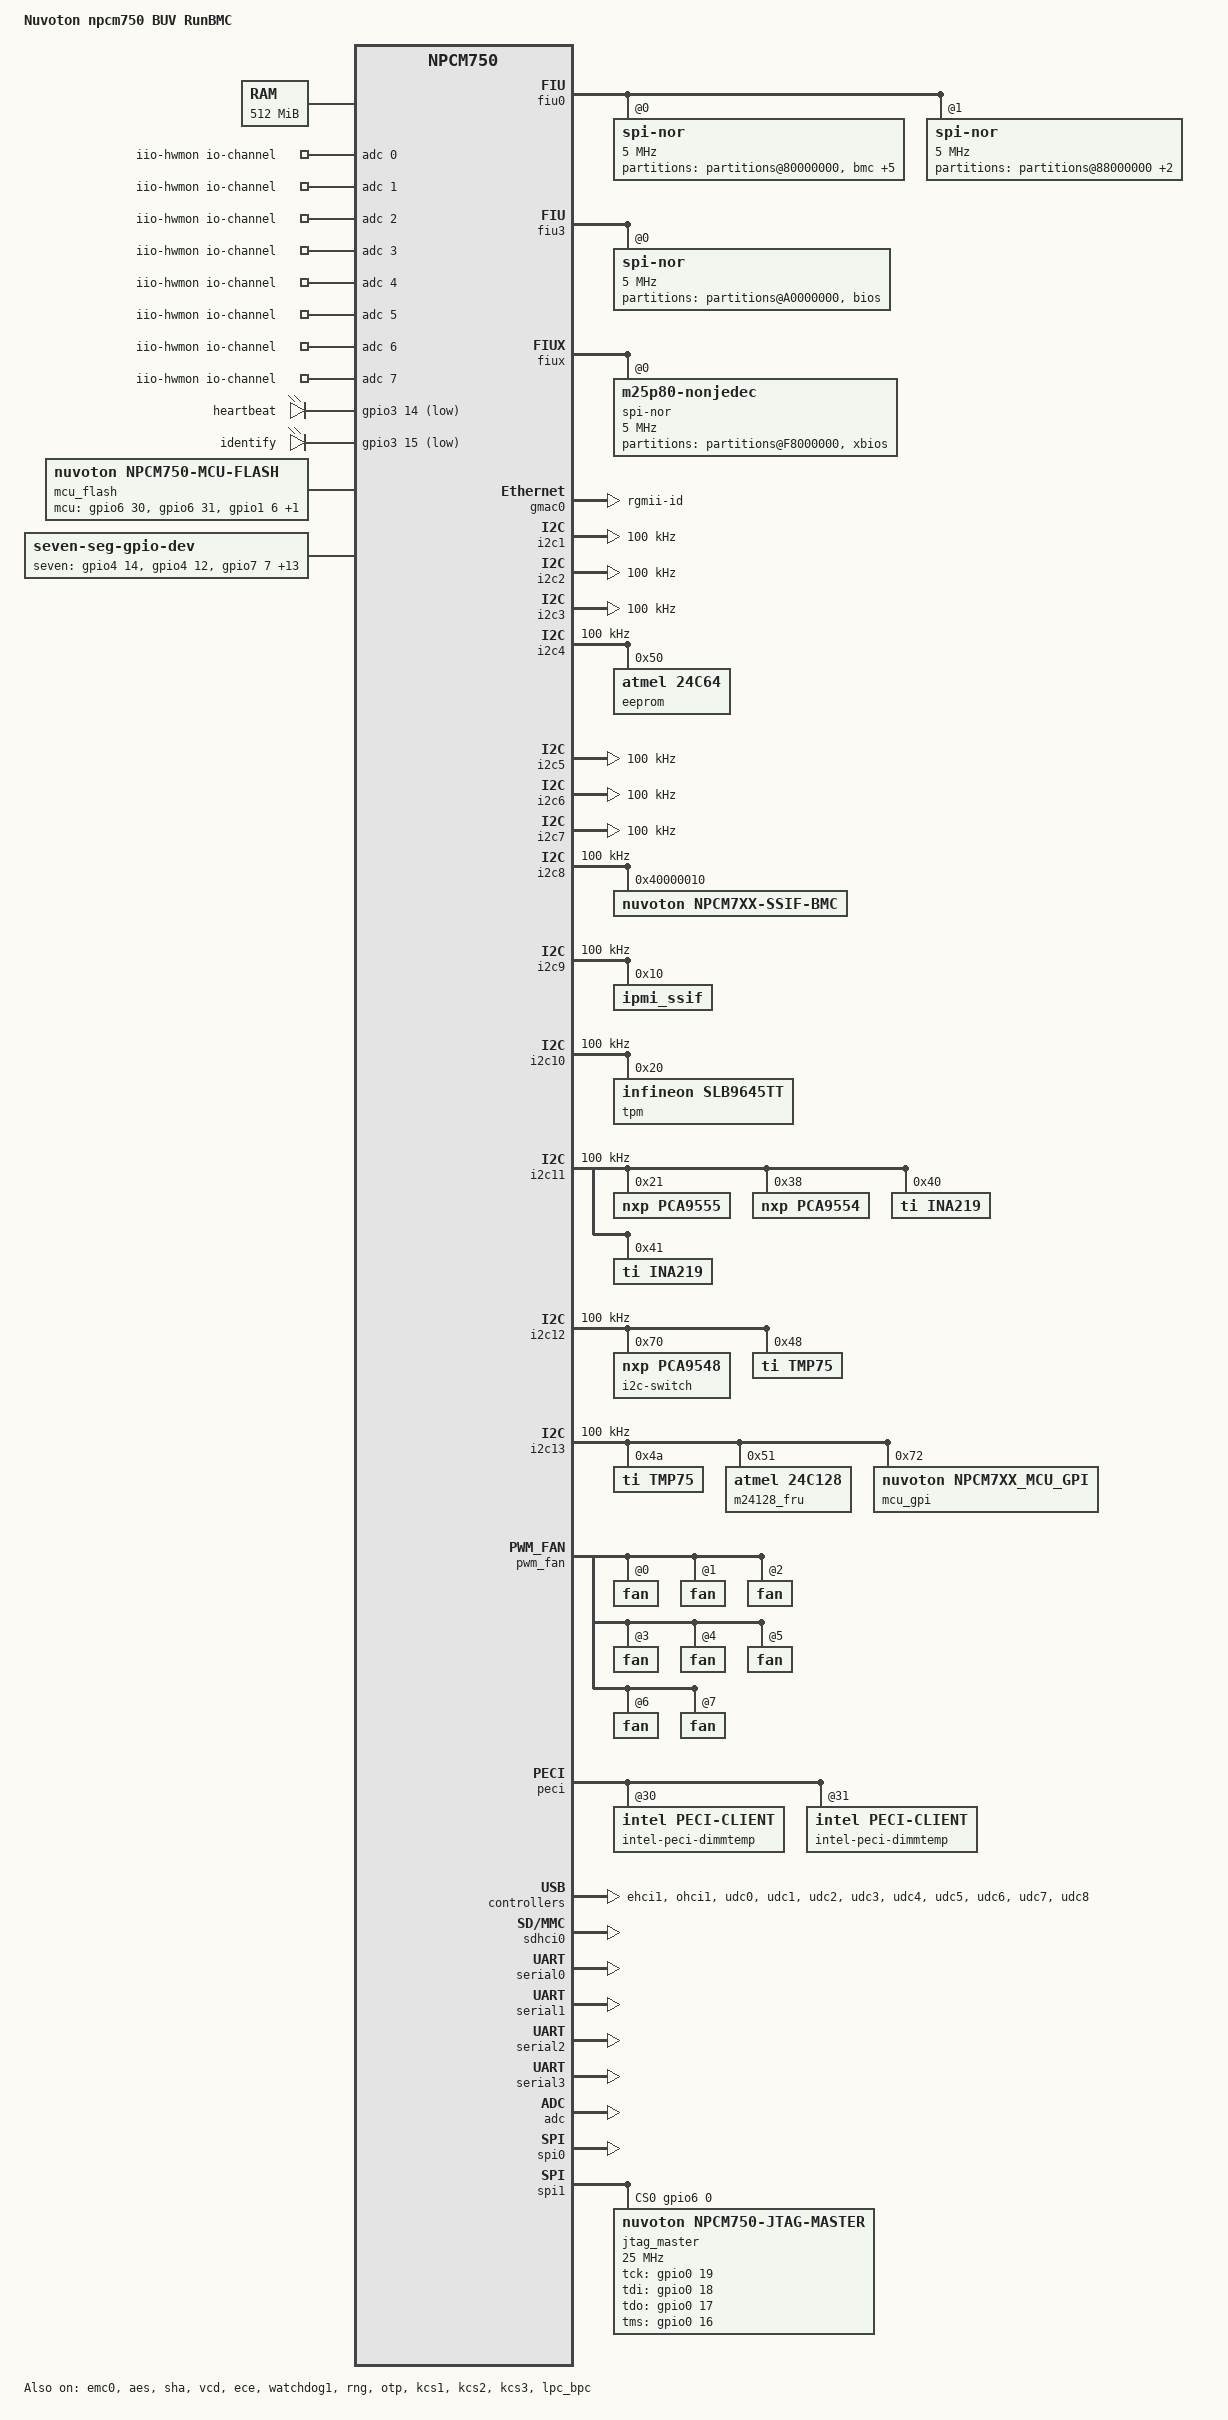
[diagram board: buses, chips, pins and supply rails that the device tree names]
// SPDX-License-Identifier: GPL-2.0
// Copyright (c) 2019 Nuvoton Technology kwliu@nuvoton.com

/dts-v1/;
#include "nuvoton-npcm750.dtsi"
// #include "nuvoton-npcm750-buv-runbmc-pincfg.dtsi"

#include <dt-bindings/i2c/i2c.h>
#include <dt-bindings/gpio/gpio.h>

/ {
	model = "Nuvoton npcm750 BUV RunBMC";
	compatible = "nuvoton,npcm750";

	aliases {
		ethernet0 = &emc0;
		ethernet1 = &gmac0;
		serial0 = &serial0;
		serial1 = &serial1;
		serial2 = &serial2;
		serial3 = &serial3;
		udc0 = &udc0;
		udc1 = &udc1;
		udc2 = &udc2;
		udc3 = &udc3;
		udc4 = &udc4;
		udc5 = &udc5;
		udc6 = &udc6;
		udc7 = &udc7;
		udc8 = &udc8;
		udc9 = &udc9;
		emmc0 = &sdhci0;
		i2c0 = &i2c0;
		i2c1 = &i2c1;
		i2c2 = &i2c2;
		i2c3 = &i2c3;
		i2c4 = &i2c4;
		i2c5 = &i2c5;
		i2c6 = &i2c6;
		i2c7 = &i2c7;
		i2c8 = &i2c8;
		i2c9 = &i2c9;
		i2c10 = &i2c10;
		i2c11 = &i2c11;
		i2c12 = &i2c12;
		i2c13 = &i2c13;
		spi0 = &spi0;
		spi1 = &spi1;
		fiu0 = &fiu0;
		fiu1 = &fiu3;
		fiu2 = &fiux;
	};

	chosen {
		stdout-path = &serial3;
	};

	memory {
		reg = <0 0x20000000>;
	};

	iio-hwmon {
		compatible = "iio-hwmon";
		io-channels = <&adc 0>, <&adc 1>, <&adc 2>, <&adc 3>,
			<&adc 4>, <&adc 5>, <&adc 6>, <&adc 7>;
	};

	leds {
		compatible = "gpio-leds";
		heartbeat {
		label = "heartbeat";
			gpios = <&gpio3 14 1>;
		};

		identify {
			label = "identify";
			gpios = <&gpio3 15 1>;
		};
	};

	mcu_flash {
		compatible = "nuvoton,npcm750-mcu-flash";
		status = "okay";
		#address-cells = <1>;
		#size-cells = <1>;
		dev-num = <0>;    /* /dev/mcu0 */
		smb-offset = <6>; /* SMBSEL offset of MFSEL3 */
		mcu-gpios = <&gpio6 30 GPIO_ACTIVE_HIGH>,     /* GPIO222/PROG_CLK, Output */
			<&gpio6 31 GPIO_ACTIVE_HIGH>,     /* GPIO223/PROG_MOSI Output */
			<&gpio1 6 GPIO_ACTIVE_HIGH>,      /* GPIO38/PROG_MISO, Input  */
			<&gpio1 5 GPIO_ACTIVE_HIGH>;       /* GPIO37/RESET#, Output    */
    };

	seven-seg-gpio {
		compatible = "seven-seg-gpio-dev";
		refresh-interval-ms = <500>;
		seven-gpios = <&gpio4 14 0>,
			<&gpio4 12 0>,
			<&gpio7 7 0>,
			<&gpio0 9 0>,
			<&gpio4 15 0>,
			<&gpio2 25 0>,
			<&gpio4 11 0>,
			<&gpio4 10 0>,
			<&gpio0 25 0>,
			<&gpio4 9 0>,
			<&gpio0 24 0>,
			<&gpio0 11 0>,
			<&gpio2 23 0>,
			<&gpio4 13 0>,
			<&gpio2 24 0>,
			<&gpio2 26 0>;
		status = "okay";
    };
};

&fiu0 {
	pinctrl-names = "default";
	pinctrl-0 = <&spi0cs1_pins>;
	status = "okay";

	spi-nor@0 {
		compatible = "jedec,spi-nor";
		#address-cells = <1>;
		#size-cells = <1>;
		reg = <0>;
		spi-rx-bus-width = <2>;
		spi-tx-bus-width = <2>;
		spi-max-frequency = <5000000>;
		partitions@80000000 {
			compatible = "fixed-partitions";
			#address-cells = <1>;
			#size-cells = <1>;
			bmc@0{
				label = "bmc";
				reg = <0x000000 0x4000000>;
			};
			u-boot@0 {
				label = "u-boot";
				reg = <0x0000000 0xC0000>;
			};
			u-boot-env@100000{
				label = "u-boot-env";
				reg = <0x00100000 0x40000>;
			};
			kernel@200000 {
				label = "kernel";
				reg = <0x0200000 0x600000>;
			};
			rofs@800000 {
				label = "rofs";
				reg = <0x800000 0x3500000>;
			};
			rwfs@1d00000 {
				label = "rwfs";
				reg = <0x3d00000 0x300000>;
			};
		};
	};

	spi-nor@1 {
		compatible = "jedec,spi-nor";
		#address-cells = <1>;
		#size-cells = <1>;
		reg = <1>;
		spi-rx-bus-width = <2>;
		spi-tx-bus-width = <2>;
		spi-max-frequency = <5000000>;
		partitions@88000000 {
			compatible = "fixed-partitions";
			#address-cells = <1>;
			#size-cells = <1>;
			spare1@0 {
				label = "spi0-cs1-spare1";
				reg = <0x0 0x800000>;
			};
			spare2@800000 {
				label = "spi0-cs1-spare2";
				reg = <0x800000 0x0>;
			};
		};
	};
};

&fiu3 {
	pinctrl-0 = <&spi3_pins>;
	status = "okay";

	spi-nor@0 {
		compatible = "jedec,spi-nor";
		#address-cells = <1>;
		#size-cells = <1>;
		reg = <0>;
		spi-rx-bus-width = <2>;
		spi-tx-bus-width = <2>;
		spi-max-frequency = <5000000>;
		partitions@A0000000 {
			compatible = "fixed-partitions";
			#address-cells = <1>;
			#size-cells = <1>;
			bios@0 {
				label = "bios";
				reg = <0x0 0x2000000>;
			};
		};
	};
};

&fiux {
	pinctrl-0 = <&spix_pins>;
	pinctrl-names = "default";
	status = "okay";
	reg = <0xfb001000 0x1000>, <0xf8000000 0x2000000>;
	reg-names = "control", "memory";
	spi-nor@0 {
		compatible = "m25p80-nonjedec";
		spi-max-frequency = <5000000>;
		#address-cells = <1>;
		#size-cells = <1>;
		reg = <0>;
		spi-rx-bus-width = <2>;
		spi-tx-bus-width = <2>;

		partitions@F8000000 {
			compatible = "fixed-partitions";
			#address-cells = <1>;
			#size-cells = <1>;
			xbios@0 {
				label = "xbios";
				reg = <0x0 0x2000000>;
			};
		};
	};
};

&gcr {
	mux-controller {
		compatible = "mmio-mux";
		#mux-control-cells = <1>;

		mux-reg-masks = <0x38 0x07>;
		idle-states = <6>;
	};
};

&gmac0 {
	phy-mode = "rgmii-id";
	snps,eee-force-disable;
	status = "okay";
};

&emc0 {
	status = "okay";
};

&i2c1 {
	#address-cells = <1>;
	#size-cells = <0>;
	clock-frequency = <100000>;
	status = "okay";
};

&i2c2 {
	#address-cells = <1>;
	#size-cells = <0>;
	clock-frequency= <100000>;
	status = "okay";
};

&i2c3 {
	#address-cells = <1>;
	#size-cells = <0>;
	clock-frequency = <100000>;
	status = "okay";
};

&i2c4 {
	#address-cells = <1>;
	#size-cells = <0>;
	clock-frequency = <100000>;
	status = "okay";
	eeprom@50 {
		compatible = "atmel,24c64";
		reg = <0x50>;
	};
};

&i2c5 {
	#address-cells = <1>;
	#size-cells = <0>;
	clock-frequency = <100000>;
	status = "okay";
};

&i2c6 {
	#address-cells = <1>;
	#size-cells = <0>;
	clock-frequency = <100000>;
	status = "okay";
};

&i2c7 {
	#address-cells = <1>;
	#size-cells = <0>;
	clock-frequency = <100000>;
	status = "okay";
};

&i2c8 {
	#address-cells = <1>;
	#size-cells = <0>;
	clock-frequency = <100000>;
	status = "okay";
	npcm7xx-ssif-bmc@40000010 {
		compatible = "nuvoton,npcm7xx-ssif-bmc";
		reg = <0x40000010>;
	};
};

&i2c9 {
	#address-cells = <1>;
	#size-cells = <0>;
	clock-frequency = <100000>;
	status = "okay";
	ipmi_ssif@10 {
		compatible = "ipmi_ssif";
		reg = <0x10>;
	};
};

&i2c10 {
	#address-cells = <1>;
	#size-cells = <0>;
	clock-frequency = <100000>;
	status = "okay";
	tpm@20 {
		compatible = "infineon,slb9645tt";
		reg = <0x20>;
	};
};

&i2c11 {
	#address-cells = <1>;
	#size-cells = <0>;
	clock-frequency = <100000>;
	status = "okay";
	pca9555@21 {
		compatible = "nxp,pca9555";
		reg = <0x21>;
		gpio-controller;
		#gpio-cells = <2>;
	};
	pca9554@38 {
		compatible = "nxp,pca9554";
		reg = <0x38>;
		gpio-controller;
		#gpio-cells = <2>;
	};
	ina219@40 {
		compatible = "ti,ina219";
		reg = <0x40>;
	};
	ina219@41 {
		compatible = "ti,ina219";
		reg = <0x41>;
	};
};

&i2c12 {
	#address-cells = <1>;
	#size-cells = <0>;
	clock-frequency = <100000>;
	status = "okay";
	i2c-switch@70 {
		compatible = "nxp,pca9548";
		#address-cells = <1>;
		#size-cells = <0>;
		reg = <0x70>;
		i2c-mux-idle-disconnect;
		i2c-bus@0 {
			#address-cells = <1>;
			#size-cells = <0>;
			reg = <0>;
		};

		i2c-bus@1 {
			#address-cells = <1>;
			#size-cells = <0>;
			reg = <1>;
		};
	};
	tmp75@48 {
		compatible = "ti,tmp75";
		reg = <0x48>;
		status = "okay";
	};
};

&i2c13 {
	#address-cells = <1>;
	#size-cells = <0>;
	clock-frequency = <100000>;
	status = "okay";
	tmp75@4a {
		compatible = "ti,tmp75";
		reg = <0x4a>;
		status = "okay";
	};
	m24128_fru@51 {
		compatible = "atmel,24c128";
		reg = <0x51>;
		pagesize = <64>;
		status = "okay";
	};
	mcu_gpi@72 {
                compatible = "nuvoton,npcm7xx_mcu_gpi";
                reg = <0x72>;
                status = "okay";
                interrupts = <&gpio1 6 GPIO_ACTIVE_LOW>;
        };
};

&pwm_fan {
	pinctrl-names = "default";
	pinctrl-0 = <&pwm0_pins &pwm1_pins
			&pwm2_pins &pwm3_pins
			&pwm4_pins &pwm5_pins
			&pwm6_pins &pwm7_pins
			&fanin0_pins &fanin1_pins
			&fanin2_pins &fanin3_pins
			&fanin4_pins &fanin5_pins
			&fanin6_pins &fanin7_pins
			&fanin8_pins &fanin9_pins
			&fanin10_pins &fanin11_pins
			&fanin12_pins &fanin13_pins
			&fanin14_pins &fanin15_pins>;
	status = "okay";
	fan@0 {
		reg = <0x00>;
		fan-tach-ch = /bits/ 8 <0x00 0x01>;
		cooling-levels = <127 255>;
		fan_filter_en;
	};
	fan@1 {
		reg = <0x01>;
		fan-tach-ch = /bits/ 8 <0x02 0x03>;
		cooling-levels = /bits/ 8 <127 255>;
		fan_filter_en;
	};
	fan@2 {
		reg = <0x02>;
		fan-tach-ch = /bits/ 8 <0x04 0x05>;
		cooling-levels = /bits/ 8 <127 255>;
		fan_filter_en;
	};
	fan@3 {
		reg = <0x03>;
		fan-tach-ch = /bits/ 8 <0x06 0x07>;
		cooling-levels = /bits/ 8 <127 255>;
	};
	fan@4 {
		reg = <0x04>;
		fan-tach-ch = /bits/ 8 <0x08 0x09>;
		cooling-levels = /bits/ 8 <127 255>;
	};
	fan@5 {
		reg = <0x05>;
		fan-tach-ch = /bits/ 8 <0x0A 0x0B>;
		cooling-levels = /bits/ 8 <127 255>;
	};
	fan@6 {
		reg = <0x06>;
		fan-tach-ch = /bits/ 8 <0x0C 0x0D>;
		cooling-levels = /bits/ 8 <127 255>;
	};
	fan@7 {
		reg = <0x07>;
		fan-tach-ch = /bits/ 8 <0x0E 0x0F>;
		cooling-levels = /bits/ 8 <127 255>;
	};
};

&peci {
	cmd-timeout-ms = <1000>;
	pull-down = <0>;
	host-neg-bit-rate = <15>;
	status = "okay";

	intel-peci-dimmtemp@30 {
		compatible = "intel,peci-client";
		reg = <0x30>;
	};
	intel-peci-dimmtemp@31 {
		compatible = "intel,peci-client";
		reg = <0x31>;
	};
};

&ehci1 {
	status = "okay";
};

&ohci1 {
	status = "okay";
};

&udc0 {
	status = "okay";
};

&udc1 {
	status = "okay";
};

&udc2 {
	status = "okay";
};

&udc3 {
	status = "okay";
};

&udc4 {
	status = "okay";
};

&udc5 {
	status = "okay";
};

&udc6 {
	status = "okay";
};

&udc7 {
	status = "okay";
};

&udc8 {
	status = "okay";
};

&udc9 {
	status = "disabled";
};

&aes {
	status = "okay";
};

&sha {
	status = "okay";
};


&sdhci0 {
	status = "okay";
};

&pcimbox {
	status = "okay";
};

&vcd {
	status = "okay";
};

&ece {
	status = "okay";
};

&watchdog1 {
	nuvoton,ext1-reset-type = "wd1";
	status = "okay";
};

&rng {
	status = "okay";
};

&serial0 {
	status = "okay";
};

&serial1 {
	status = "okay";
};

&serial2 {
	status = "okay";
};

&serial3 {
	status = "okay";
};

&adc {
	#io-channel-cells = <1>;
	status = "okay";
};

&otp {
	status = "okay";
};

&kcs1 {
	status = "okay";
};

&kcs2 {
	status = "okay";
};

&kcs3 {
	status = "okay";
};

&lpc_bpc {
	monitor-ports = <0x80>;
	status = "okay";
};

&spi0 {
	cs-gpios = <&gpio6 11 GPIO_ACTIVE_LOW>;
	status = "okay";
};

&spi1 {
	cs-gpios = <&gpio6 0 GPIO_ACTIVE_HIGH>;
	pinctrl-names = "default";
	pinctrl-0 = <&gpio17_pins &gpio18ol_pins
				&gpio19ol_pins>;
	status = "okay";
	jtag_master {
		compatible = "nuvoton,npcm750-jtag-master";
		spi-max-frequency = <25000000>;
		reg = <0>;

		pinctrl-names = "pspi", "gpio";
		pinctrl-0 = <&pspi2_pins>;
		pinctrl-1 = <&gpio17_pins &gpio18ol_pins
				&gpio19ol_pins>;

		tck-gpios = <&gpio0 19 GPIO_ACTIVE_HIGH>;
		tdi-gpios = <&gpio0 18 GPIO_ACTIVE_HIGH>;
		tdo-gpios = <&gpio0 17 GPIO_ACTIVE_HIGH>;
		tms-gpios = <&gpio0 16 GPIO_ACTIVE_HIGH>;
		status = "okay";
	};
};

&pinctrl {
		pinctrl-names = "default";
		pinctrl-0 = <
				&ddc_pins
				&wdog1_pins
				&wdog2_pins
				&gpio138o_pins
				&gpio139o_pins
				&gpio89ol_pins
				&gpio143o_pins
				&gpio9o_pins
				&gpio231o_pins
				&gpio140o_pins
				&gpio142o_pins
				&gpio90o_pins
				&gpio88ol_pins
				&gpio141o_pins
				&gpio87o_pins
				&gpio11o_pins
				&gpio24o_pins
				&gpio137o_pins
				&gpio25o_pins
				&gpio84_pins
				&gpio85_pins
				&gpio122_pins
				&gpio124_pins
				&gpio125_pins
				&gpio126_pins
				&gpio4_pins
				&gpio5_pins
				&gpio6_pins
				&gpio7_pins
				>;
		gpio2: gpio@f0012000 {
			/* POWER_BUTTON=gpio84 */
			/* RESET_BUTTON=gpio85 */
			gpio-line-names =
			/*64-95*/
			"","","","","","","","",
			"","","","","","","","",
			"","","","","POWER_BUTTON","RESET_BUTTON","","",
			"","","","","","","","";
		};
		gpio3: gpio@f0013000 {
			/* POST_COMPLETE=gpio122 */
			gpio-line-names =
			/*96-127*/
			"","","","","","","","",
			"","","","","","","","",
			"","","","","","","","",
			"","","POST_COMPLETE","","PS_PWROK","POWER_OUT","RESET_OUT","";
		};
};
